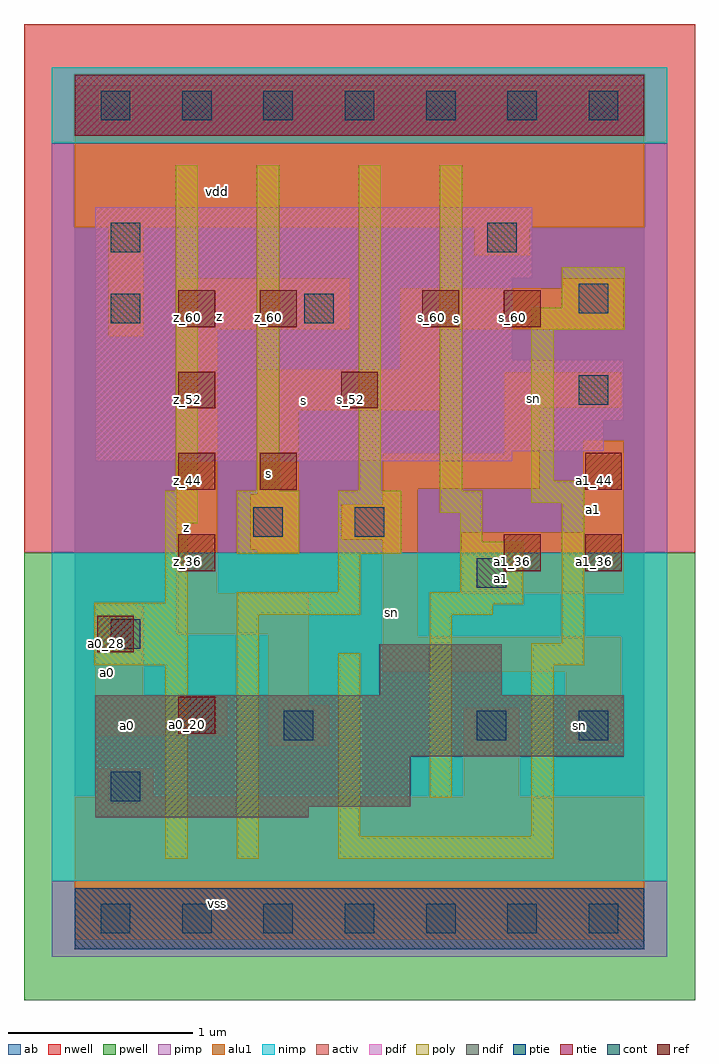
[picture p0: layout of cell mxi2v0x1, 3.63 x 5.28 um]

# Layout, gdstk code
import gdstk
lib = gdstk.Library(unit=1e-6, precision=2.5e-09)
def R(c, l, rs):  # rectangles x0, y0, x1, y1
    for r in rs: c.add(gdstk.rectangle(r[:2], r[2:], *l))
def A(c, l, x, y, w, h, nx, ny, dx, dy):  # array of equal rectangles
    R(c, l, [(x+i*dx, y+j*dy, x+i*dx+w, y+j*dy+h) for i in range(nx) for j in range(ny)])
ndif = (3, 0)
pdif = (4, 0)
ntie = (5, 0)
ptie = (6, 0)
ref = (24, 0)
cont = (25, 0)
pwell = (41, 0)
nwell = (42, 0)
activ = (43, 0)
pimp = (44, 0)
nimp = (45, 0)
poly = (46, 0)
alu1 = (49, 0)
ab = (63, 0)

mxi2v0x1 = lib.new_cell('mxi2v0x1')
R(mxi2v0x1, ndif, [(0.11,0.55,1.265,0.605), (0.11,0.605,1.815,0.88), (0.11,0.88,2.97,1.21), (1.65,1.21,2.31,1.485)])
R(mxi2v0x1, pdif, [(0.11,2.475,2.365,2.53), (0.11,2.53,2.86,2.695), (0.11,2.695,2.97,3.025), (0.11,3.025,2.365,3.465), (0.11,3.465,2.475,3.85)])
R(mxi2v0x1, ntie, [(0,4.235,3.08,4.565)])
R(mxi2v0x1, ptie, [(0,-0.165,3.08,0.165)])
A(mxi2v0x1, ref, 0.56, 1.88, 0.2, 0.2, 1, 4, 0, 0.44)
R(mxi2v0x1, ref, [(0.56,1,0.76,1.2), (0.12,1.44,0.32,1.64), (2.32,1.88,2.52,2.08), (2.76,1.88,2.96,2.08), (1,2.32,1.2,2.52), (2.76,2.32,2.96,2.52), (1.44,2.76,1.64,2.96), (1,3.2,1.2,3.4), (1.88,3.2,2.08,3.4), (2.32,3.2,2.52,3.4)])
A(mxi2v0x1, cont, 0.14, -0.08, 0.16, 0.16, 7, 2, 0.44, 4.4)
R(mxi2v0x1, cont, [(0.195,0.635,0.355,0.795), (1.13,0.965,1.29,1.125), (2.175,0.965,2.335,1.125), (2.725,0.965,2.885,1.125), (0.195,1.46,0.355,1.62), (2.175,1.79,2.335,1.95), (0.965,2.065,1.125,2.225), (1.515,2.065,1.675,2.225), (2.725,2.78,2.885,2.94), (0.195,3.22,0.355,3.38), (1.24,3.22,1.4,3.38), (2.725,3.275,2.885,3.435), (0.195,3.605,0.355,3.765), (2.23,3.605,2.39,3.765)])
R(mxi2v0x1, pwell, [(-0.275,-0.44,3.355,1.98)])
R(mxi2v0x1, nwell, [(-0.275,1.98,3.355,4.84)])
R(mxi2v0x1, activ, [(0,-0.165,3.08,0.165), (0.11,0.55,1.265,0.605), (0.11,0.605,1.815,0.88), (0.11,0.88,2.97,1.21), (1.65,1.21,2.31,1.485), (0.11,2.475,2.365,2.53), (0.11,2.53,2.86,2.695), (0.11,2.695,2.97,3.025), (0.11,3.025,2.365,3.465), (0.11,3.465,2.475,3.85), (0,4.235,3.08,4.565)])
R(mxi2v0x1, pimp, [(-0.125,-0.205,3.205,0.205), (-0.125,1.98,3.205,4.195)])
R(mxi2v0x1, nimp, [(-0.125,0.205,3.205,1.98), (-0.125,4.195,3.205,4.605)])
R(mxi2v0x1, poly, [(0.49,0.325,0.61,1.37), (0.875,0.325,0.995,1.645), (1.425,0.325,2.59,0.445), (1.425,0.445,1.545,1.435), (2.47,0.445,2.59,1.37), (1.92,0.655,2.04,1.645), (0.105,1.37,0.61,1.71), (2.47,1.37,2.755,1.49), (2.635,1.49,2.755,2.25), (0.875,1.645,1.545,1.765), (1.92,1.645,2.26,1.7), (1.92,1.7,2.425,1.765), (0.49,1.71,0.61,2.14), (1.425,1.765,1.545,1.975), (2.085,1.765,2.425,2.04), (0.875,1.975,1.215,2.315), (1.425,1.975,1.765,2.315), (2.085,2.04,2.205,2.195), (0.49,2.14,0.665,2.315), (1.975,2.195,2.205,2.315), (2.47,2.25,2.755,2.37), (0.545,2.315,0.665,4.075), (0.985,2.315,1.105,4.075), (1.535,2.315,1.655,4.075), (1.975,2.315,2.095,4.075), (2.47,2.37,2.59,3.185), (2.47,3.185,2.975,3.305), (2.635,3.305,2.975,3.525)])
R(mxi2v0x1, alu1, [(0,-0.11,3.08,0.66), (0.125,0.66,0.425,0.81), (2.105,0.66,2.405,1.14), (1.045,0.935,1.375,1.155), (2.655,0.95,2.955,1.335), (0.11,0.99,0.825,1.21), (1.045,1.155,1.265,1.54), (0.11,1.21,0.37,1.69), (1.665,1.335,2.955,1.525), (1.665,1.525,1.855,2.05), (0.55,1.54,1.265,1.76), (0.11,1.69,0.33,1.705), (0.55,1.76,0.77,3.19), (2.09,1.76,2.97,2.09), (0.99,1.98,1.21,1.995), (0.95,1.995,1.21,2.295), (1.445,2.05,1.855,2.24), (2.75,2.09,2.97,2.585), (1.665,2.24,1.855,2.325), (0.99,2.295,1.21,2.75), (1.665,2.325,2.515,2.515), (2.325,2.515,2.515,2.765), (0.99,2.75,1.98,2.97), (2.325,2.765,2.955,2.955), (1.76,2.97,1.98,3.19), (0.18,3.15,0.37,3.74), (0.55,3.19,1.485,3.465), (1.76,3.19,2.97,3.41), (2.64,3.41,2.97,3.465), (2.16,3.59,2.46,3.74), (0,3.74,3.08,4.51)])
R(mxi2v0x1, ab, [(0,0,3.08,4.4)])
mxi2v0x1.add(gdstk.Label('vss', (0.77,0.0825), layer=49, texttype=0))
mxi2v0x1.add(gdstk.Label('sn', (2.73,1.045), layer=49, texttype=0))
mxi2v0x1.add(gdstk.Label('a1', (2.31,1.8425), layer=49, texttype=0))
mxi2v0x1.add(gdstk.Label('sn', (1.7125,1.655), layer=49, texttype=0))
mxi2v0x1.add(gdstk.Label('a0', (0.2875,1.045), layer=49, texttype=0))
mxi2v0x1.add(gdstk.Label('a0', (0.175,1.33), layer=49, texttype=0))
mxi2v0x1.add(gdstk.Label('a1', (2.805,2.2125), layer=49, texttype=0))
mxi2v0x1.add(gdstk.Label('s', (1.045,2.4075), layer=49, texttype=0))
mxi2v0x1.add(gdstk.Label('sn', (2.4825,2.8125), layer=49, texttype=0))
mxi2v0x1.add(gdstk.Label('s', (1.2375,2.805), layer=49, texttype=0))
mxi2v0x1.add(gdstk.Label('z', (0.605,2.1175), layer=49, texttype=0))
mxi2v0x1.add(gdstk.Label('s', (2.0625,3.245), layer=49, texttype=0))
mxi2v0x1.add(gdstk.Label('z', (0.7825,3.2575), layer=49, texttype=0))
mxi2v0x1.add(gdstk.Label('vdd', (0.77,3.9325), layer=49, texttype=0))
mxi2v0x1.add(gdstk.Label('z_52', (0.61,2.81), layer=24, texttype=0))
mxi2v0x1.add(gdstk.Label('z_44', (0.61,2.37), layer=24, texttype=0))
mxi2v0x1.add(gdstk.Label('z_36', (0.61,1.93), layer=24, texttype=0))
mxi2v0x1.add(gdstk.Label('z_60', (0.61,3.25), layer=24, texttype=0))
mxi2v0x1.add(gdstk.Label('z_60', (1.05,3.25), layer=24, texttype=0))
mxi2v0x1.add(gdstk.Label('a1_36', (2.37,1.93), layer=24, texttype=0))
mxi2v0x1.add(gdstk.Label('s_44', (1.05,2.37), layer=24, texttype=0))
mxi2v0x1.add(gdstk.Label('a1_44', (2.81,2.37), layer=24, texttype=0))
mxi2v0x1.add(gdstk.Label('a0_28', (0.17,1.49), layer=24, texttype=0))
mxi2v0x1.add(gdstk.Label('a1_36', (2.81,1.93), layer=24, texttype=0))
mxi2v0x1.add(gdstk.Label('s_52', (1.49,2.81), layer=24, texttype=0))
mxi2v0x1.add(gdstk.Label('s_60', (1.93,3.25), layer=24, texttype=0))
mxi2v0x1.add(gdstk.Label('s_60', (2.37,3.25), layer=24, texttype=0))
mxi2v0x1.add(gdstk.Label('a0_20', (0.61,1.05), layer=24, texttype=0))

lib.write_gds('mxi2v0x1.gds')
